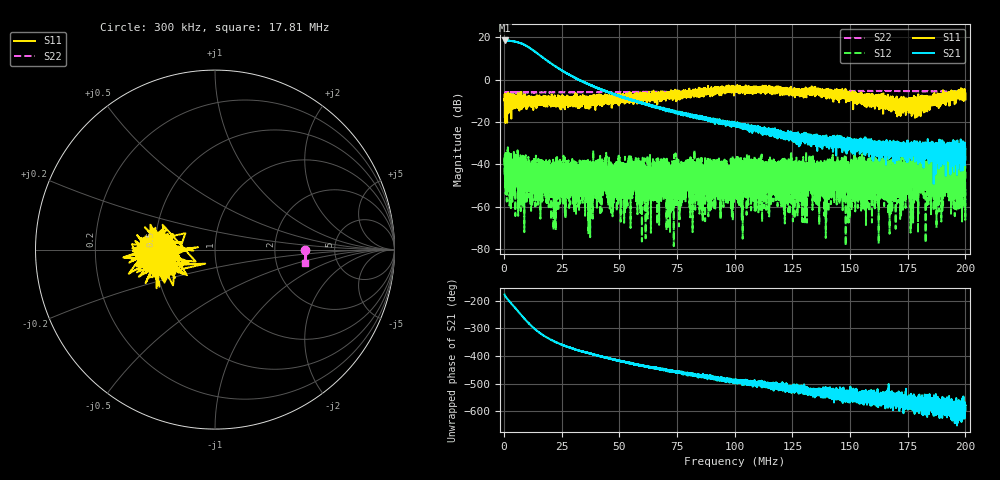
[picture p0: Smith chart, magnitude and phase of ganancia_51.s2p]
# Hz S DB R 50
! CMT, M5065, 19127446, 24.2.4/2
! Date: 10/29/2024 12:46:50 PM
! Data: Format (Calibration Info)
! Freq	S11:dB/Ang(F2)	S21:dB/Ang(F2)	S12:dB/Ang(F2)	S22:dB/Ang(F2)
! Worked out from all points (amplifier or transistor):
!   9000 points, 300 kHz to 200 MHz, reference 50 ohm
!   highest |S21| = 18.6 dB at 499.7 kHz (marker M1)
!   |S21| within 3 dB of that: start of sweep to 10.35 MHz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
!   unconditionally stable (mu >= 1): start of sweep to end of sweep
!   at 33.59 MHz: K = 52.90, MAG = 1.1 dB, |S12| = -43.3 dB
!   at 100.2 MHz: K = 504.15, MAG = -18.0 dB, |S12| = -46.0 dB
!   at 200 MHz: K = 10061.49, MAG = -35.8 dB, |S12| = -52.3 dB
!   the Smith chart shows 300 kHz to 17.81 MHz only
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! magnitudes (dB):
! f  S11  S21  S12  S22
! 300 kHz  -9.2  18.5  -40.6  -6.0
! 499.7 kHz  -10.1  18.6  -36.7  -6.0
! 12.24 MHz  -9.8  14.3  -38.9  -5.9
! 33.59 MHz  -10.6  -0.6  -43.3  -5.9
! 46.68 MHz  -9.3  -6.5  -47.2  -5.8
! 66.87 MHz  -7.5  -13.0  -44.4  -5.7
! 94.97 MHz  -4.8  -19.8  -49.6  -5.6
! 97.79 MHz  -5.6  -21.1  -45.8  -5.6
! 100.2 MHz  -3.5  -21.9  -46.0  -5.6
! 108.1 MHz  -4.5  -23.0  -45.8  -5.6
! 123.6 MHz  -6.6  -25.7  -49.9  -5.5
! 130 MHz  -4.4  -27.8  -58.1  -5.4
! 133.4 MHz  -5.4  -27.7  -45.4  -5.3
! 136.1 MHz  -6.2  -27.8  -57.6  -5.3
! 154.6 MHz  -8.1  -30.4  -52.7  -5.3
! 156.6 MHz  -9.4  -30.4  -44.2  -5.3
! 159.1 MHz  -9.1  -30.4  -43.9  -5.3
! 166.7 MHz  -8.9  -30.9  -42.6  -5.3
! 190.1 MHz  -8.4  -35.4  -38.5  -5.4
! 192.7 MHz  -9.1  -34.9  -39.7  -5.4
! 198.8 MHz  -7.0  -42.8  -45.4  -5.5
! 200 MHz  -9.3  -37.7  -52.3  -5.5
